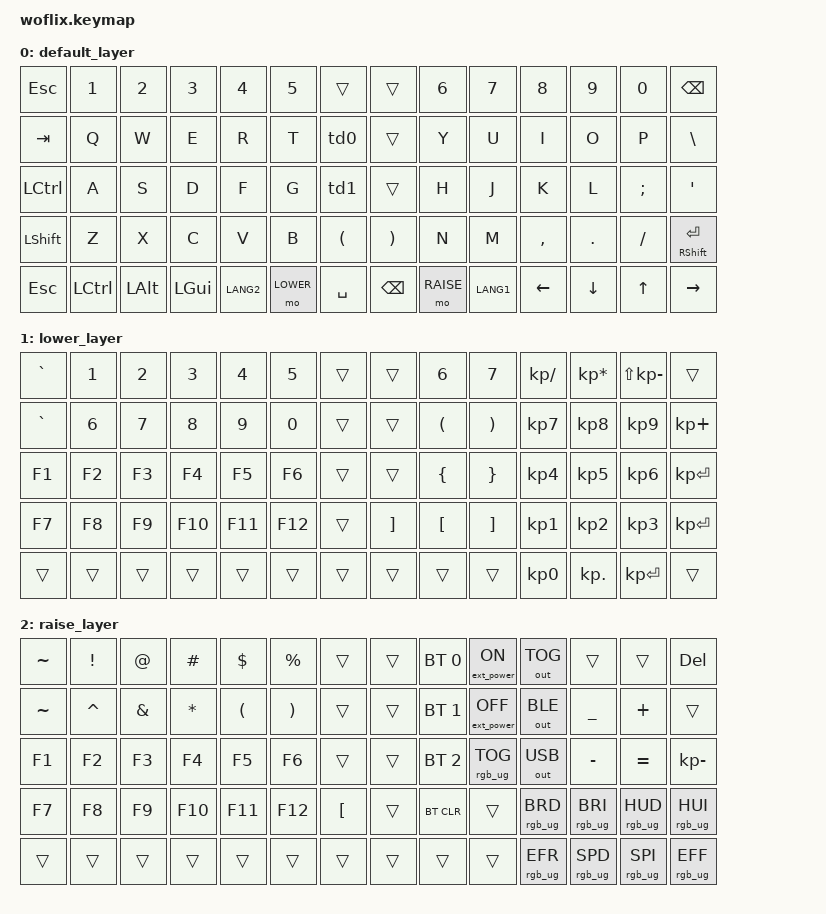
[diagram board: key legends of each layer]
#include <behaviors.dtsi>
#include <dt-bindings/zmk/keys.h>
#include <dt-bindings/zmk/bt.h>
#include <dt-bindings/zmk/rgb.h>
#include <dt-bindings/zmk/ext_power.h>
#include <dt-bindings/zmk/outputs.h>

#define DEFAULT 0
#define LOWER  1
#define RAISE  2

/ {
	behaviors {
        td0: tap_dance_0 {
            compatible = "zmk,behavior-tap-dance";
            label = "VOL_UP_TD";
            #binding-cells = <0>;
            tapping-term-ms = <50>;
            bindings = <&trans>, <&kp C_VOL_UP>;
        };

		td1: tap_dance_1 {
            compatible = "zmk,behavior-tap-dance";
            label = "VOL_DN_TD";
            #binding-cells = <0>;
            tapping-term-ms = <50>;
            bindings = <&trans>, <&kp C_VOL_DN>;
        };
    };

	keymap {
		compatible = "zmk,keymap";

		default_layer {
// ------------------------------------------------------------------------------------------------------------
// |  ESC  |    1      |    2    |    3    |    4     |    5     |    ?   |  |   ?   |   6      |    7     |    8    |   9    |   0   | BSPC  |
// |  TAB  |    Q      |    W    |    E    |    R     |    T     |                   |   Y      |    U     |    I    |   O    |   P   |   \   |
// |  CTRL |    A      |    S    |    D    |    F     |    G     |                   |   H      |    J     |    K    |   L    |   ;   |   '   |
// | SHIFT |    Z      |    X    |    C    |    V     |    B     |   "("  |  |  ")"  |   N      |    M     |    ,    |   .    |   /   | SHIFT/ENTER |
// |  ESC  |   CTRL    |   ALT   |   GUI   |   EISU   |  LOWER   |  SPACE |  | SPACE |  RAISE   |   EISU   |    ←    |   ↓    |   ↑   |   →   |
			bindings = <
&kp ESC      &kp N1     &kp N2    &kp N3     &kp N4     &kp N5     &trans    &trans    &kp N6     &kp N7    &kp N8    &kp N9    &kp N0    &kp BSPC
&kp TAB      &kp Q      &kp W     &kp E      &kp R      &kp T      &td0      &trans    &kp Y      &kp U     &kp I     &kp O     &kp P     &kp BSLH
&kp LCTRL    &kp A      &kp S     &kp D      &kp F      &kp G      &td1      &trans    &kp H      &kp J     &kp K     &kp L     &kp SEMI  &kp APOS
&kp LSHFT    &kp Z      &kp X     &kp C      &kp V      &kp B      &kp LPAR  &kp RPAR  &kp N      &kp M     &kp COMMA &kp DOT   &kp SLASH &mt RSHFT ENTER
&kp ESCAPE   &kp LCTRL  &kp LALT  &kp LGUI   &kp LANG2  &mo LOWER  &kp SPACE &kp BSPC  &mo RAISE  &kp LANG1 &kp LEFT  &kp DOWN  &kp UP    &kp RIGHT  
			>;
		};

		lower_layer {
// ------------------------------------------------------------------------------------------------------------ 
// |  `  |     1    |    2    |    3     |   4    |   5    |     ?   |  |   ?    |     6    |    7    |     KP/    |      KP*      |      KP-      |             |
// |  `  |     6    |    7    |    8     |   9    |   0    |                     |     (    |    )    |     KP7    |      KP8      |      KP9      |     KP+     |
// | F1  |    F2    |   F3    |   F4     |  F5    |  F6    |                     |     {    |    }    |     KP4    |      KP5      |      KP6      |    KPENT    |
// | F7  |    F8    |   F9    |   F10    |  F11   |  F12   |         |  |        |     [    |    ]    |     KP1    |      KP2      |      KP3      |    KPENT    |
// |     |          |         |          |        |        |         |  |        |          |         |     KP0    |      KP.      |     KPENT     |             |
			bindings = <
&kp GRAVE  &kp N1     &kp N2    &kp N3    &kp N4    &kp N5   &trans      &trans    &kp N6    &kp N7    &kp KP_SLASH &kp KP_ASTERISK  &kp LS(KP_MINUS) &trans
&kp GRAVE  &kp N6     &kp N7    &kp N8    &kp N9    &kp N0   &trans      &trans    &kp LPAR  &kp RPAR  &kp KP_N7        &kp KP_N8    &kp KP_N9       &kp KP_PLUS
&kp F1     &kp F2     &kp F3    &kp F4    &kp F5    &kp F6   &trans      &trans    &kp LBRC  &kp RBRC  &kp KP_N4        &kp KP_N5    &kp KP_N6       &kp KP_ENTER
&kp F7     &kp F8     &kp F9    &kp F10   &kp F11   &kp F12  &trans      &kp RBKT  &kp LBKT  &kp RBKT  &kp KP_N1        &kp KP_N2    &kp KP_N3       &kp KP_ENTER
&trans     &trans     &trans    &trans    &trans    &trans   &trans      &trans    &trans    &trans    &kp KP_N0        &kp KP_DOT   &kp KP_ENTER    &trans
			>;
		};

		raise_layer {
// ------------------------------------------------------------------------------------------------------------
// |  ~  |    !    |    @    |   #    |    $     |   %     |     ?   |  |   ?    |             |                  |                |                |               |      DEL     |
// |  ~  |    ^    |    &    |   *    |    (     |   )     |                     |             |                  |                |     _          |    +          |              |
// |  F1 |    F2   |    F3   |   F4   |    F5    |   F6    |                     |             |                  |                |     -          |    =          |              |
// |  F7 |    F8   |    F9   |   F10  |    F11   |   F12   |         |  |        |             |                  |                |                |               |              |
// |     |         |         |        |          |         |         |  |        |             |                  |                |                |               |              |
			bindings = <
&kp TILDE &kp EXCL  &kp AT    &kp HASH  &kp DLLR  &kp PRCNT   &trans      &trans  &bt BT_SEL 0   &ext_power EP_ON   &out OUT_TOG    &trans           &trans          &kp DEL
&kp TILDE &kp CARET &kp AMPS  &kp ASTRK &kp LPAR  &kp RPAR    &trans      &trans  &bt BT_SEL 1   &ext_power EP_OFF  &out OUT_BLE    &kp UNDER        &kp PLUS        &trans
&kp F1    &kp F2    &kp F3    &kp F4    &kp F5    &kp F6      &trans      &trans  &bt BT_SEL 2   &rgb_ug RGB_TOG    &out OUT_USB    &kp MINUS        &kp EQUAL       &kp KP_SUBTRACT
&kp F7    &kp F8    &kp F9    &kp F10   &kp F11   &kp F12     &kp LBKT    &trans  &bt BT_CLR     &trans             &rgb_ug RGB_BRD &rgb_ug RGB_BRI  &rgb_ug RGB_HUD &rgb_ug RGB_HUI
&trans    &trans    &trans    &trans    &trans    &trans      &trans      &trans  &trans         &trans             &rgb_ug RGB_EFR &rgb_ug RGB_SPD  &rgb_ug RGB_SPI &rgb_ug RGB_EFF
			>; 
		};
	};
};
